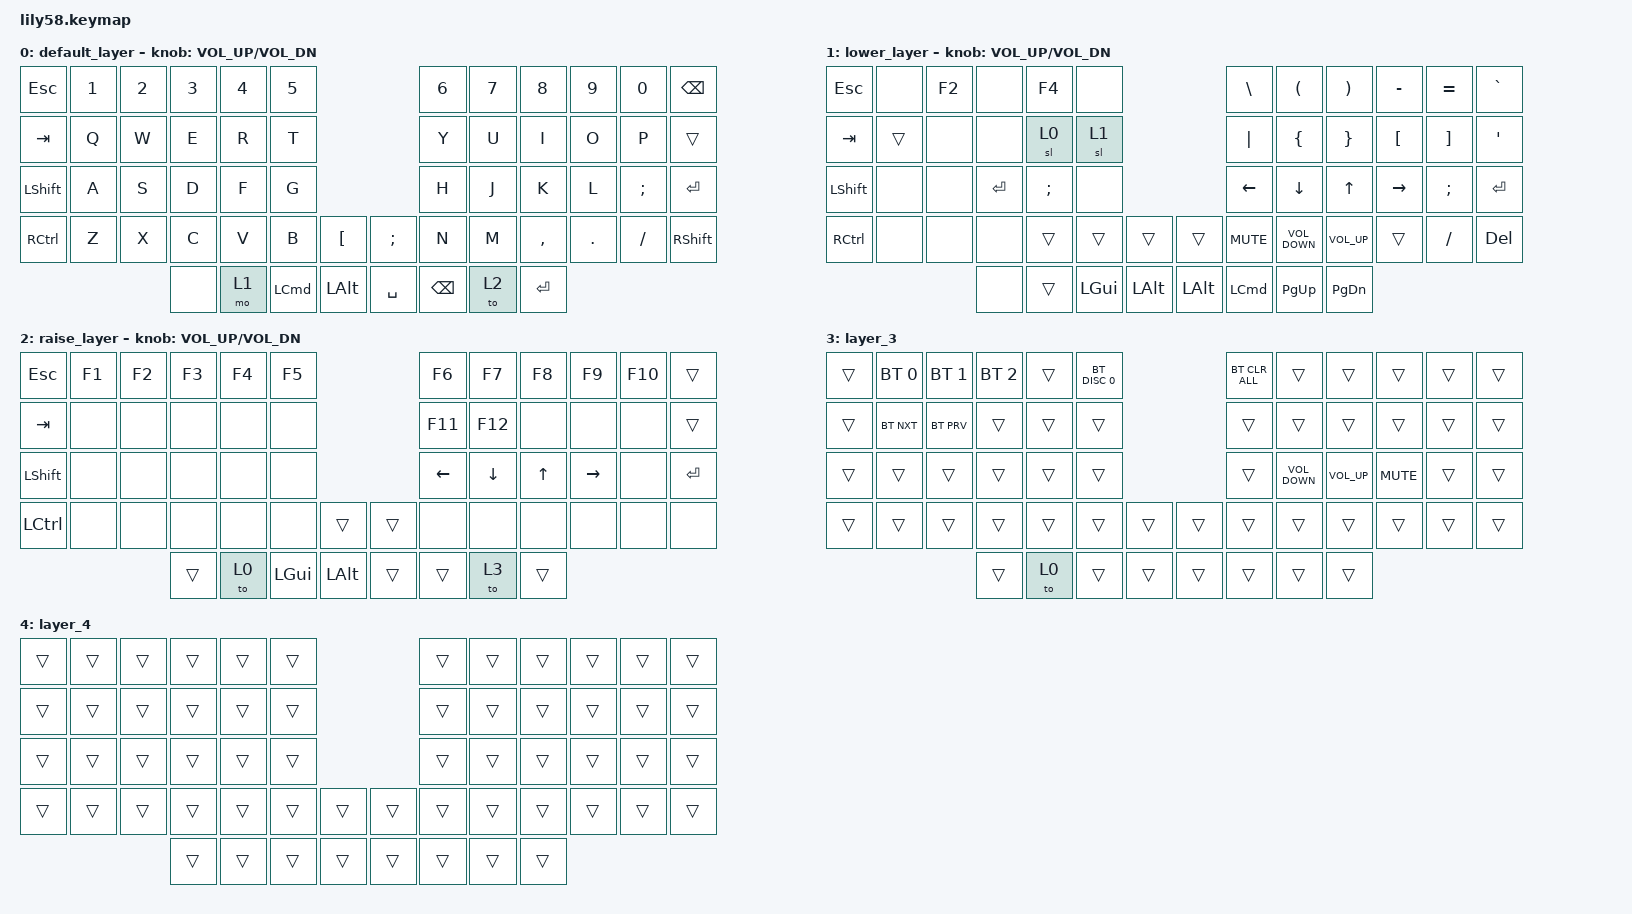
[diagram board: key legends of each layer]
/*
 * Copyright (c) 2020 The ZMK Contributors
 *
 * SPDX-License-Identifier: MIT
 */

#include <behaviors.dtsi>
#include <dt-bindings/zmk/bt.h>
#include <dt-bindings/zmk/keys.h>

/ {
    combos {
        compatible = "zmk,combos";

        copy {
            bindings = <&kp LG(C)>;
            key-positions = <54 39>;
        };

        paste {
            bindings = <&kp LG(V)>;
            key-positions = <54 40>;
        };
    };

    keymap {
        compatible = "zmk,keymap";

        default_layer {
            // ------------------------------------------------------------------------------------------------------------
            // |  ESC  |  1  |  2  |  3   |  4   |  5   |                   |  6   |  7    |  8    |  9   |   0   |   `   |
            // |  TAB  |  Q  |  W  |  E   |  R   |  T   |                   |  Y   |  U    |  I    |  O   |   P   |   -   |
            // |  CTRL |  A  |  S  |  D   |  F   |  G   |                   |  H   |  J    |  K    |  L   |   ;   |   '   |
            // | SHIFT |  Z  |  X  |  C   |  V   |  B   |   "["  |  |  "]"  |  N   |  M    |  ,    |  .   |   /   | SHIFT |
            //                     | ALT  | GUI  | LOWER|  SPACE |  | ENTER | RAISE| BSPC  | GUI   |

            bindings = <
&kp ESC         &kp NUMBER_1  &kp NUMBER_2  &kp NUMBER_3  &kp NUMBER_4  &kp NUMBER_5                                 &kp NUMBER_6   &kp NUMBER_7  &kp N8     &kp N9   &kp N0     &kp BACKSPACE
&kp TAB         &kp Q         &kp W         &kp E         &kp R         &kp T                                        &kp Y          &kp U         &kp I      &kp O    &kp P      &trans
&kp LEFT_SHIFT  &kp A         &kp S         &kp D         &kp F         &kp G                                        &kp H          &kp J         &kp K      &kp L    &kp SEMI   &kp ENTER
&kp RCTRL       &kp Z         &kp X         &kp C         &kp V         &kp B             &kp LBKT        &kp SEMI   &kp N          &kp M         &kp COMMA  &kp DOT  &kp SLASH  &kp RSHFT
                                            &none         &mo 1         &kp LEFT_COMMAND  &kp LEFT_ALT    &kp SPACE  &kp BACKSPACE  &to 2         &kp ENTER
            >;

            sensor-bindings = <&inc_dec_kp C_VOL_UP C_VOL_DN>;
        };

        lower_layer {
            // ------------------------------------------------------------------------------------------------------------
            // | BTCLR | BT1 | BT2 |  BT3 |  BT4 |  BT5 |                   |      |       |       |      |       |       |
            // |  F1   |  F2 |  F3 |  F4  |  F5  |  F6  |                   |  F7  |  F8   |  F9   |  F10 |  F11  |  F12  |
            // |   `   |  !  |  @  |  #   |  $   |  %   |                   |  ^   |  &    |  *    |  (   |   )   |   ~   |
            // |       |     |     |      |      |      |        |  |       |      |  _    |  +    |  {   |   }   |  "|"  |
            //                     |      |      |      |        |  |       |      |       |       |

            bindings = <
&kp ESCAPE         &none   &kp F2  &none      &kp F4    &none                                       &kp BACKSLASH     &kp LEFT_PARENTHESIS  &kp RIGHT_PARENTHESIS  &kp MINUS         &kp EQUAL          &kp GRAVE
&kp TAB            &trans  &none   &none      &sl 0     &sl 1                                       &kp PIPE          &kp LEFT_BRACE        &kp RIGHT_BRACE        &kp LEFT_BRACKET  &kp RIGHT_BRACKET  &kp SINGLE_QUOTE
&kp LEFT_SHIFT     &none   &none   &kp ENTER  &kp SEMI  &none                                       &kp LEFT_ARROW    &kp DOWN_ARROW        &kp UP                 &kp RIGHT_ARROW   &kp SEMI           &kp ENTER
&kp RIGHT_CONTROL  &none   &none   &none      &trans    &trans        &trans          &trans        &kp K_MUTE        &kp C_VOLUME_DOWN     &kp C_VOL_UP           &trans            &kp SLASH          &kp DELETE
                                   &none      &trans    &kp LEFT_GUI  &kp LEFT_ALT    &kp LEFT_ALT  &kp LEFT_COMMAND  &kp PAGE_UP           &kp PAGE_DOWN
            >;

            sensor-bindings = <&inc_dec_kp C_VOL_UP C_VOL_DN>;
        };

        raise_layer {
            // ------------------------------------------------------------------------------------------------------------
            // |       |     |     |      |      |      |                   |      |       |       |      |       |       |
            // |   `   |  1  |  2  |  3   |  4   |  5   |                   |  6   |   7   |   8   |  9   |   0   |       |
            // |   F1  |  F2 |  F3 |  F4  |  F5  |  F6  |                   |      |   <-  |   v   |  ^   |  ->   |       |
            // |   F7  |  F8 |  F9 |  F10 |  F11 |  F12 |        |  |       |  +   |   -   |   =   |  [   |   ]   |   \   |
            //                     |      |      |      |        |  |       |      |       |       |

            bindings = <
&kp ESCAPE      &kp F1  &kp F2  &kp F3  &kp F4  &kp F5                                &kp F6    &kp F7    &kp F8        &kp F9     &kp F10  &trans
&kp TAB         &none   &none   &none   &none   &none                                 &kp F11   &kp F12   &none         &none      &none    &trans
&kp LEFT_SHIFT  &none   &none   &none   &none   &none                                 &kp LEFT  &kp DOWN  &kp UP_ARROW  &kp RIGHT  &none    &kp ENTER
&kp LCTRL       &none   &none   &none   &none   &none         &trans          &trans  &none     &none     &none         &none      &none    &none
                                &trans  &to 0   &kp LEFT_GUI  &kp LEFT_ALT    &trans  &trans    &to 3     &trans
            >;

            sensor-bindings = <&inc_dec_kp C_VOL_UP C_VOL_DN>;
        };

        layer_3 {
            bindings = <
&trans  &bt BT_SEL 0  &bt BT_SEL 1  &bt BT_SEL 2  &trans  &bt BT_DISC 0                    &bt BT_CLR_ALL  &trans             &trans           &trans      &trans  &trans
&trans  &bt BT_NXT    &bt BT_PRV    &trans        &trans  &trans                           &trans          &trans             &trans           &trans      &trans  &trans
&trans  &trans        &trans        &trans        &trans  &trans                           &trans          &kp C_VOLUME_DOWN  &kp C_VOLUME_UP  &kp K_MUTE  &trans  &trans
&trans  &trans        &trans        &trans        &trans  &trans         &trans    &trans  &trans          &trans             &trans           &trans      &trans  &trans
                                    &trans        &to 0   &trans         &trans    &trans  &trans          &trans             &trans
            >;
        };

        layer_4 {
            bindings = <
&trans  &trans  &trans  &trans  &trans  &trans                    &trans  &trans  &trans  &trans  &trans  &trans
&trans  &trans  &trans  &trans  &trans  &trans                    &trans  &trans  &trans  &trans  &trans  &trans
&trans  &trans  &trans  &trans  &trans  &trans                    &trans  &trans  &trans  &trans  &trans  &trans
&trans  &trans  &trans  &trans  &trans  &trans  &trans    &trans  &trans  &trans  &trans  &trans  &trans  &trans
                        &trans  &trans  &trans  &trans    &trans  &trans  &trans  &trans
            >;
        };
    };
};
